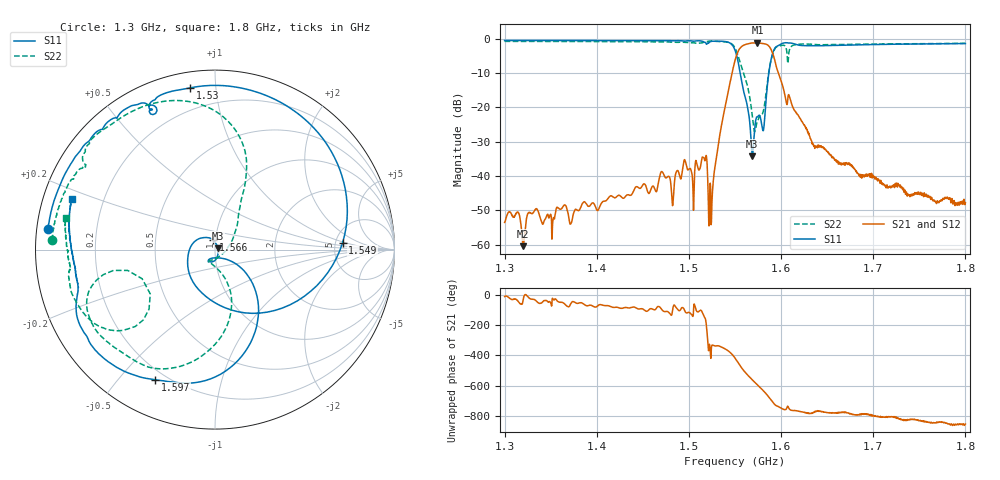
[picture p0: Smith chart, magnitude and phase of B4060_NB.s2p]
! Matrix data file written by TouchstoneData, EPCOS AG
! FILENAME: "B4060_NB.s2p"
! COMMENT: "11 Jan 2006 S11-PORTEX1 84PS;PORTEX2 170PS;"
! INFO: nport=2, nfreq=1601
! DATE: "Tue Jul 22 16:32:57 2008"
! USER: "Aleksander Breg"
! port | pin | signal
!  1  |  6  |  input
!  2  |  2  |  output
# MHZ S MA R 50
! freq  magS11 angS11  magS21 angS21  magS12 angS12  magS22 angS22
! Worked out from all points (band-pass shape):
!   1601 points, 1.3 GHz to 1.8 GHz, reference 50 ohm
!   highest |S21| = -1.24 dB at 1.574 GHz (marker M1); lowest = -60.4 dB at 1.32 GHz (marker M2)
!   |S21| within 3 dB of the highest: 1.553 GHz to 1.591 GHz (38.24 MHz wide, 2.43 % of centre)
!   lowest |S11| = -34.3 dB at 1.569 GHz (marker M3), VSWR 1.04, Z = 51.8 + j0.774 ohm
!   |S11| at or under -10 dB: 1.556 GHz to 1.587 GHz (31.16 MHz wide, 1.98 % of centre)
!   |S22| runs from -27.1 to -0.7 dB; largest |S21 - S12| = 0.0039
!   S11 on the Smith chart (normalised r, x): 1.3 GHz: 0.03, +0.06; 1.53 GHz: 0.08, +0.86; 1.549 GHz: 5.80, +0.87; 1.566 GHz: 0.97, +0.11; 1.597 GHz: 0.16, -0.63; 1.8 GHz: 0.09, +0.17
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1300  0.9383 172.9  0.002109 -11.6  0.0021 -11.8  0.9104 176.7
1320  0.937 170.6  0.0009523 -38.5  0.0009549 -38.9  0.9072 175.0
1333.438  0.9369 168.9  0.00327 -35.7  0.003257 -35.9  0.9095 173.8
1383.438  0.9364 162.3  0.003726 -52.4  0.003706 -52.2  0.9064 169.3
1466.875  0.9321 144.7  0.007959 -77.0  0.007928 -76.7  0.8939 158.0
1516.875  0.8803 114.8  0.01742 -148.3  0.01737 -148.2  0.8917 145.8
1523.438  0.8995 111.7  0.007127 -41.7  0.00712 -41.4  0.9153 139.8
1530.312  0.9116 98.7  0.02024 23.1  0.02016 23.3  0.9107 131.9
1541.562  0.8933 62.4  0.1444 -5.9  0.1439 -5.8  0.8871 114.1
1549.375  0.7114 3.0  0.4446 -52.3  0.4438 -52.2  0.7542 87.9
1550  0.6779 -4.1  0.4789 -57.6  0.4782 -57.6  0.729 85.2
1556.875  0.2529 -106.5  0.7589 -119.9  0.7575 -119.9  0.3956 65.1
1566.25  0.05523 101.0  0.8527 173.7  0.8516 173.7  0.1337 36.9
1568.75  0.01927 22.8  0.8624 158.2  0.8612 158.2  0.07404 11.2
1574.375  0.07256 -113.0  0.867 124.8  0.8651 124.8  0.06331 -112.9
1580.938  0.04669 -75.8  0.8426 85.2  0.8406 85.2  0.09015 -93.2
1587.5  0.3737 -50.2  0.7551 37.8  0.7524 37.7  0.3824 -77.4
1597.5  0.7983 -114.7  0.3045 -19.9  0.3021 -19.8  0.7722 -131.9
1609.688  0.8637 -149.5  0.135 -38.9  0.1343 -38.7  0.7217 -141.4
1633.438  0.7861 -170.1  0.03117 -63.9  0.03103 -63.8  0.8268 -170.0
1716.875  0.8244 170.3  0.006993 -85.8  0.006964 -85.8  0.8353 174.7
1800  0.8454 160.7  0.004085 -134.0  0.004062 -133.7  0.8512 168.0
